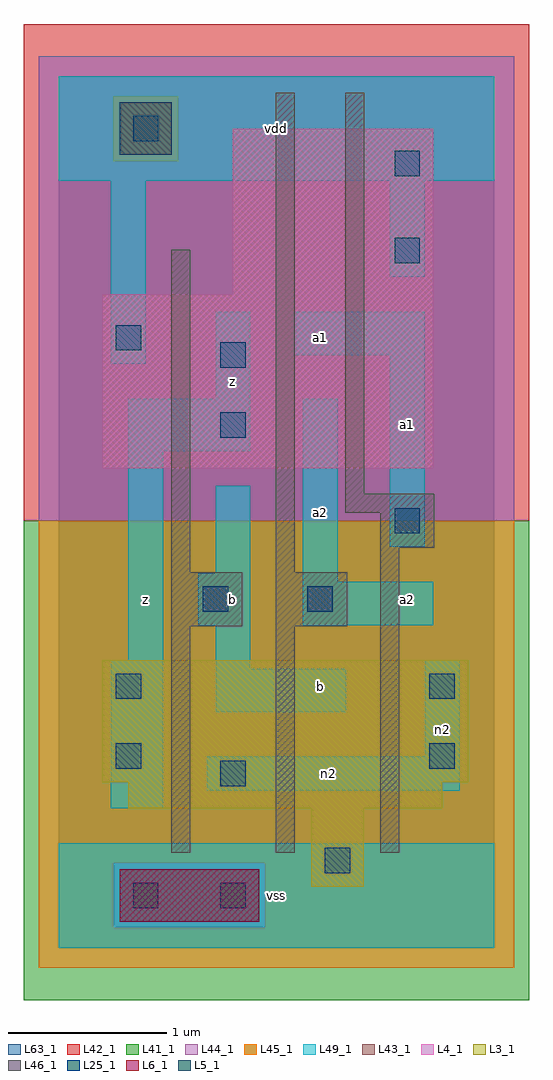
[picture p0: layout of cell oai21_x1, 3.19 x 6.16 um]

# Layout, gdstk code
import gdstk
lib = gdstk.Library(unit=1e-6, precision=1e-09)
def R(c, l, rs):  # rectangles x0, y0, x1, y1
    for r in rs: c.add(gdstk.rectangle(r[:2], r[2:], *l))
L3_1 = (3, 1)
L4_1 = (4, 1)
L5_1 = (5, 1)
L6_1 = (6, 1)
L25_1 = (25, 1)
L41_1 = (41, 1)
L42_1 = (42, 1)
L43_1 = (43, 1)
L44_1 = (44, 1)
L45_1 = (45, 1)
L46_1 = (46, 1)
L49_1 = (49, 1)
L63_1 = (63, 1)

oai21_x1 = lib.new_cell('oai21_x1')
R(oai21_x1, L3_1, [(1.595,0.385,1.925,0.88), (0.44,0.88,2.42,1.045), (0.275,1.045,2.585,1.815)])
R(oai21_x1, L4_1, [(0.275,3.025,2.365,4.125), (1.1,4.125,2.365,5.17)])
R(oai21_x1, L5_1, [(0.385,5.005,0.715,5.335)])
R(oai21_x1, L6_1, [(0.385,0.165,1.265,0.495)])
R(oai21_x1, L25_1, [(0.47,0.25,0.63,0.41), (1.02,0.25,1.18,0.41), (1.68,0.47,1.84,0.63), (1.02,1.02,1.18,1.18), (0.36,1.13,0.52,1.29), (2.34,1.13,2.5,1.29), (0.36,1.57,0.52,1.73), (2.34,1.57,2.5,1.73), (0.91,2.12,1.07,2.28), (1.57,2.12,1.73,2.28), (2.12,2.615,2.28,2.775), (1.02,3.22,1.18,3.38), (1.02,3.66,1.18,3.82), (0.36,3.77,0.52,3.93), (2.12,4.32,2.28,4.48), (2.12,4.87,2.28,5.03), (0.47,5.09,0.63,5.25)])
R(oai21_x1, L41_1, [(-0.22,-0.33,2.97,2.695)])
R(oai21_x1, L42_1, [(-0.22,2.695,2.97,5.83)])
R(oai21_x1, L43_1, [(0.385,0.165,1.265,0.495), (1.595,0.385,1.925,0.88), (0.44,0.88,2.42,1.045), (0.275,1.045,2.585,1.815), (0.275,3.025,2.365,4.125), (1.1,4.125,2.365,5.17), (0.385,5.005,0.715,5.335)])
R(oai21_x1, L44_1, [(0.345,0.125,1.305,0.535), (-0.125,2.695,2.875,4.965), (-0.125,4.965,0.345,5.375), (0.755,4.965,2.875,5.375), (-0.125,5.375,2.875,5.625)])
R(oai21_x1, L45_1, [(-0.125,-0.125,2.875,0.125), (-0.125,0.125,0.345,0.535), (1.305,0.125,2.875,0.535), (-0.125,0.535,2.875,2.695), (0.345,4.965,0.755,5.375)])
R(oai21_x1, L46_1, [(0.71,0.6,0.83,2.03), (1.37,0.6,1.49,2.03), (2.03,0.6,2.15,2.525), (0.71,2.03,1.16,2.37), (1.37,2.03,1.82,2.37), (0.71,2.37,0.83,4.405), (1.37,2.37,1.49,5.395), (2.03,2.525,2.37,2.745), (1.81,2.745,2.37,2.865), (1.81,2.865,1.93,5.395)])
R(oai21_x1, L49_1, [(0,0,2.75,0.66), (0.33,0.88,0.66,1.815), (0.935,0.99,2.53,1.21), (2.31,1.21,2.53,1.815), (0.99,1.485,1.815,1.76), (0.99,1.76,1.21,2.035), (0.44,1.815,0.66,3.135), (0.88,2.035,1.21,2.365), (1.54,2.035,2.365,2.31), (1.54,2.31,1.76,3.465), (0.99,2.365,1.21,2.915), (2.09,2.53,2.31,3.74), (0.44,3.135,1.21,3.465), (0.99,3.465,1.21,4.015), (0.33,3.685,0.55,4.84), (1.485,3.74,2.31,4.015), (2.09,4.235,2.31,4.84), (0,4.84,2.75,5.5)])
R(oai21_x1, L63_1, [(0,0,2.75,5.5)])
oai21_x1.add(gdstk.Label('z', (0.55,2.2), layer=49, texttype=1))
oai21_x1.add(gdstk.Label('z', (0.55,2.2), layer=49, texttype=1))
oai21_x1.add(gdstk.Label('b', (1.1,2.2), layer=49, texttype=1))
oai21_x1.add(gdstk.Label('b', (1.1,2.2), layer=49, texttype=1))
oai21_x1.add(gdstk.Label('z', (1.1,3.575), layer=49, texttype=1))
oai21_x1.add(gdstk.Label('z', (1.1,3.575), layer=49, texttype=1))
oai21_x1.add(gdstk.Label('vss', (1.375,0.33), layer=49, texttype=1))
oai21_x1.add(gdstk.Label('vss', (1.375,0.33), layer=49, texttype=1))
oai21_x1.add(gdstk.Label('b', (1.65,1.65), layer=49, texttype=1))
oai21_x1.add(gdstk.Label('b', (1.65,1.65), layer=49, texttype=1))
oai21_x1.add(gdstk.Label('a2', (1.65,2.75), layer=49, texttype=1))
oai21_x1.add(gdstk.Label('a2', (1.65,2.75), layer=49, texttype=1))
oai21_x1.add(gdstk.Label('a1', (1.65,3.85), layer=49, texttype=1))
oai21_x1.add(gdstk.Label('a1', (1.65,3.85), layer=49, texttype=1))
oai21_x1.add(gdstk.Label('vdd', (1.375,5.17), layer=49, texttype=1))
oai21_x1.add(gdstk.Label('vdd', (1.375,5.17), layer=49, texttype=1))
oai21_x1.add(gdstk.Label('n2', (1.705,1.1), layer=49, texttype=1))
oai21_x1.add(gdstk.Label('n2', (2.42,1.375), layer=49, texttype=1))
oai21_x1.add(gdstk.Label('a2', (2.2,2.2), layer=49, texttype=1))
oai21_x1.add(gdstk.Label('a2', (2.2,2.2), layer=49, texttype=1))
oai21_x1.add(gdstk.Label('a1', (2.2,3.3), layer=49, texttype=1))
oai21_x1.add(gdstk.Label('a1', (2.2,3.3), layer=49, texttype=1))

lib.write_gds('oai21_x1.gds')
